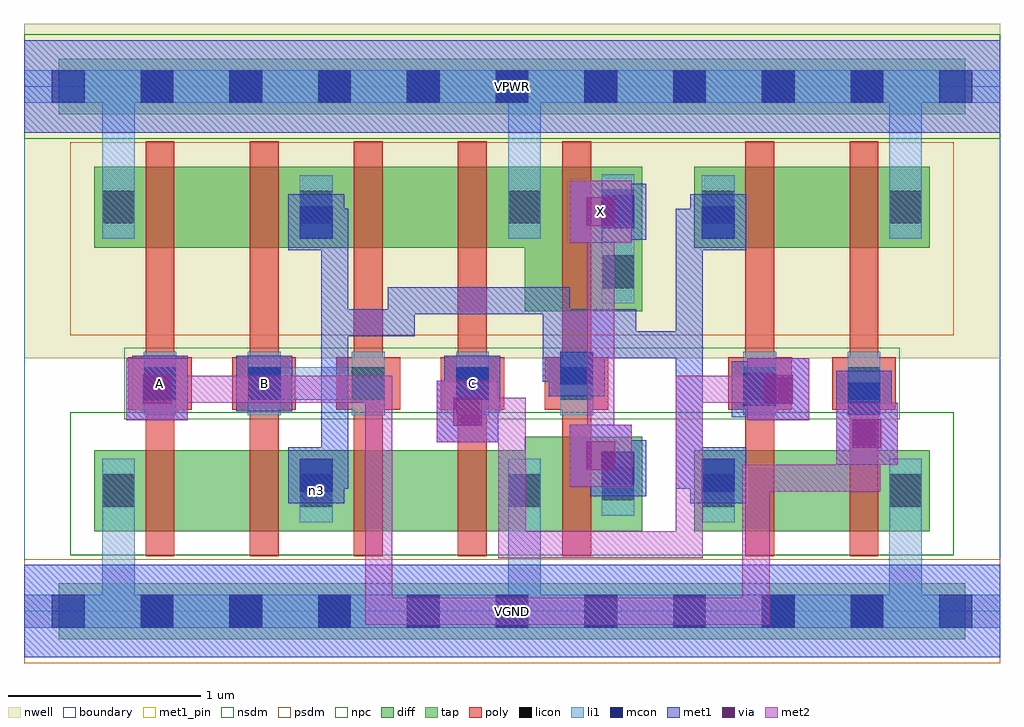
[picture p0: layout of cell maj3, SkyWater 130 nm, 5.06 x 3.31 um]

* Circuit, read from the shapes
.subckt maj3 A B C VGND VPWR X n3
XM1 n1 A VGND VGND sky130_fd_pr__nfet_01v8 w=0.42 l=0.15
XM2 n3 B n1 VGND sky130_fd_pr__nfet_01v8 w=0.42 l=0.15
XM3 n2 B n3 VGND sky130_fd_pr__nfet_01v8 w=0.42 l=0.15
XM4 VGND C n2 VGND sky130_fd_pr__nfet_01v8 w=0.42 l=0.15
XM5 X n3 VGND VGND sky130_fd_pr__nfet_01v8 w=0.49 l=0.15
XM6 n4 C n3 VGND sky130_fd_pr__nfet_01v8 w=0.42 l=0.15
XM7 VGND A n4 VGND sky130_fd_pr__nfet_01v8 w=0.42 l=0.15
XM8 n5 A VPWR VPWR sky130_fd_pr__pfet_01v8 w=0.42 l=0.15
XM9 n3 B n5 VPWR sky130_fd_pr__pfet_01v8 w=0.42 l=0.15
XM10 n6 B n3 VPWR sky130_fd_pr__pfet_01v8 w=0.42 l=0.15
XM11 VPWR C n6 VPWR sky130_fd_pr__pfet_01v8 w=0.42 l=0.15
XM12 X n3 VPWR VPWR sky130_fd_pr__pfet_01v8 w=0.75 l=0.15
XM13 n7 C n3 VPWR sky130_fd_pr__pfet_01v8 w=0.42 l=0.15
XM14 VPWR A n7 VPWR sky130_fd_pr__pfet_01v8 w=0.42 l=0.15
.ends

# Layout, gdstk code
import gdstk
lib = gdstk.Library(unit=1e-6, precision=1e-09)
def R(c, l, rs):  # rectangles x0, y0, x1, y1
    for r in rs: c.add(gdstk.rectangle(r[:2], r[2:], *l))
def A(c, l, x, y, w, h, nx, ny, dx, dy):  # array of equal rectangles
    R(c, l, [(x+i*dx, y+j*dy, x+i*dx+w, y+j*dy+h) for i in range(nx) for j in range(ny)])
nwell = (64, 20)
diff = (65, 20)
tap = (65, 44)
poly = (66, 20)
licon = (66, 44)
li1 = (67, 20)
mcon = (67, 44)
met1_pin = (68, 16)
met1 = (68, 20)
via = (68, 44)
met2 = (69, 20)
nsdm = (93, 44)
psdm = (94, 20)
npc = (95, 20)
boundary = (235, 4)

maj3 = lib.new_cell('maj3')
R(maj3, nwell, [(0,1.31,5.06,3.045)])
R(maj3, diff, [(0.365,0.415,2.595,0.835), (2.595,0.415,3.205,0.905), (3.475,0.415,4.695,0.835), (2.595,1.555,3.205,2.305), (0.365,1.885,2.595,2.305), (3.475,1.885,4.695,2.305)])
R(maj3, tap, [(0.18,-0.145,4.88,0.145), (0.18,2.575,4.88,2.865)])
A(maj3, poly, 0.63, 0.285, 0.15, 2.15, 5, 1, 0.54, 0)
A(maj3, poly, 0.54, 1.045, 0.33, 0.27, 5, 1, 0.54, 0)
R(maj3, poly, [(3.74,0.285,3.89,2.435), (4.28,0.285,4.43,2.435), (3.65,1.045,3.98,1.315), (4.19,1.045,4.52,1.315)])
A(maj3, licon, 0.605, -0.085, 0.17, 0.17, 9, 2, 0.46, 2.72)
A(maj3, licon, 0.62, 1.095, 0.17, 0.17, 5, 1, 0.54, 0)
R(maj3, licon, [(0.405,0.54,0.575,0.71), (1.43,0.54,1.6,0.71), (2.51,0.54,2.68,0.71), (3.515,0.54,3.685,0.71), (4.485,0.54,4.655,0.71), (2.995,0.575,3.165,0.745), (3.73,1.095,3.9,1.265), (4.27,1.095,4.44,1.265), (2.995,1.675,3.165,1.845), (0.405,2.01,0.575,2.18), (1.43,2.01,1.6,2.18), (2.51,2.01,2.68,2.18), (3.515,2.01,3.685,2.18), (4.485,2.01,4.655,2.18), (2.995,2.015,3.165,2.185)])
A(maj3, li1, 0.62, 1.015, 0.17, 0.33, 5, 1, 0.54, 0)
R(maj3, li1, [(0,-0.085,5.06,0.085), (0.405,-0.085,0.575,0.79), (2.51,-0.085,2.68,0.79), (4.485,-0.085,4.655,0.79), (0.405,0.46,0.575,0.79), (1.43,0.46,1.6,0.79), (2.51,0.46,2.68,0.79), (3.515,0.46,3.685,0.79), (4.485,0.46,4.655,0.79), (2.995,0.495,3.165,0.825), (3.73,1.015,3.9,1.345), (4.27,1.015,4.44,1.345), (1.16,1.095,1.87,1.265), (2.995,1.595,3.165,2.265), (0.405,1.93,0.575,2.26), (0.405,1.93,0.575,2.805), (1.43,1.93,1.6,2.26), (2.51,1.93,2.68,2.26), (2.51,1.93,2.68,2.805), (3.515,1.93,3.685,2.26), (4.485,1.93,4.655,2.26), (4.485,1.93,4.655,2.805), (0,2.635,5.06,2.805)])
A(maj3, mcon, 0.145, -0.085, 0.17, 0.17, 11, 2, 0.46, 2.72)
R(maj3, mcon, [(1.43,0.62,1.6,0.79), (3.515,0.62,3.685,0.79), (2.995,0.655,3.165,0.825), (4.27,1.015,4.44,1.185), (3.73,1.065,3.9,1.235), (0.62,1.095,0.79,1.265), (1.16,1.095,1.33,1.265), (2.24,1.095,2.41,1.265), (2.78,1.175,2.95,1.345), (1.43,1.93,1.6,2.1), (3.515,1.93,3.685,2.1), (2.995,1.985,3.165,2.155)])
R(maj3, met1_pin, [(0,-0.24,5.06,0.24), (0.56,1.035,0.85,1.325), (1.1,1.035,1.39,1.325), (2.18,1.035,2.47,1.325), (2.83,1.91,3.15,2.23), (0,2.48,5.06,2.96)])
R(maj3, met1, [(0,-0.24,5.06,0.24), (1.37,0.56,1.66,0.85), (3.455,0.56,3.745,0.85), (2.935,0.595,3.225,0.885), (1.445,0.635,1.68,0.775), (1.54,0.635,1.68,0.875), (3.38,0.635,3.52,0.875), (3.38,0.635,3.67,0.775), (2.83,0.645,3.15,0.965), (2.92,0.67,3.15,0.81), (2.92,0.67,3.06,0.875), (1.54,0.735,1.68,1.91), (3.38,0.735,3.52,1.45), (4.21,0.76,4.53,1.08), (4.3,0.85,4.44,1.17), (2.14,0.875,2.46,1.195), (4.21,0.955,4.5,1.245), (2.23,0.965,2.37,1.22), (0.53,0.99,0.85,1.31), (3.75,0.99,4.07,1.31), (3.67,1.005,3.96,1.295), (4.285,1.03,4.44,1.17), (0.56,1.035,0.85,1.325), (1.1,1.035,1.39,1.325), (2.18,1.035,2.47,1.325), (0.62,1.08,0.76,1.22), (2.23,1.08,2.37,1.22), (3.745,1.08,3.98,1.22), (2.72,1.115,3.01,1.405), (2.69,1.19,2.935,1.33), (2.69,1.19,2.83,1.45), (2.69,1.31,2.83,1.68), (2.935,1.31,3.035,1.33), (3.01,1.31,3.035,1.405), (3.035,1.31,3.52,1.45), (3.035,1.31,3.175,1.565), (3.38,1.31,3.52,1.91), (2.69,1.33,2.935,1.425), (2.935,1.33,3.035,1.425), (2.72,1.405,3.01,1.425), (3.01,1.405,3.035,1.425), (1.54,1.425,2.025,1.565), (1.885,1.425,2.025,1.68), (2.69,1.425,3.175,1.565), (1.885,1.54,2.83,1.68), (1.54,1.77,1.68,2.085), (3.38,1.77,3.52,2.085), (1.37,1.87,1.66,2.16), (3.455,1.87,3.745,2.16), (2.83,1.91,3.15,2.23), (2.935,1.925,3.225,2.215), (1.445,1.945,1.68,2.085), (3.38,1.945,3.67,2.085), (2.92,2,3.15,2.14), (0,2.48,5.06,2.96)])
R(maj3, via, [(2.915,0.73,3.065,0.88), (4.295,0.845,4.445,0.995), (2.225,0.96,2.375,1.11), (0.615,1.075,0.765,1.225), (3.835,1.075,3.985,1.225), (2.915,1.995,3.065,2.145)])
R(maj3, met2, [(1.77,-0.07,1.91,1.22), (1.77,-0.07,3.865,0.07), (3.725,-0.07,3.865,0.76), (2.46,0.275,2.6,1.105), (2.46,0.275,3.52,0.415), (3.38,0.275,3.52,1.22), (3.725,0.62,4.44,0.76), (4.3,0.62,4.44,0.99), (2.83,0.645,3.15,0.965), (2.92,0.735,3.06,2.14), (4.21,0.76,4.53,1.08), (2.14,0.875,2.46,1.195), (2.23,0.965,2.6,1.105), (0.53,0.99,0.85,1.31), (3.75,0.99,4.07,1.31), (0.62,1.08,1.91,1.22), (3.38,1.08,3.98,1.22), (2.83,1.91,3.15,2.23)])
R(maj3, nsdm, [(0.24,0.29,4.82,1.03), (0,2.45,5.06,2.99)])
R(maj3, psdm, [(0,-0.27,5.06,0.27), (0.24,1.43,4.82,2.43)])
R(maj3, npc, [(0.52,0.995,4.54,1.365)])
R(maj3, boundary, [(0,0,5.06,2.72)])
maj3.add(gdstk.Label('n3', (1.515,0.625), layer=67, texttype=5))
maj3.add(gdstk.Label('A', (0.705,1.18), layer=68, texttype=5))
maj3.add(gdstk.Label('B', (1.245,1.18), layer=68, texttype=5))
maj3.add(gdstk.Label('C', (2.325,1.18), layer=68, texttype=5))
maj3.add(gdstk.Label('X', (2.99,2.07), layer=68, texttype=5))
maj3.add(gdstk.Label('VPWR', (2.53,2.72), layer=68, texttype=5))
maj3.add(gdstk.Label('VGND', (2.53,0), layer=68, texttype=5))
maj3.add(gdstk.Label('A', (0.705,1.18), layer=68, texttype=16))
maj3.add(gdstk.Label('B', (1.245,1.18), layer=68, texttype=16))
maj3.add(gdstk.Label('C', (2.325,1.18), layer=68, texttype=16))
maj3.add(gdstk.Label('X', (2.99,2.07), layer=68, texttype=16))
maj3.add(gdstk.Label('VPWR', (2.53,2.72), layer=68, texttype=16))
maj3.add(gdstk.Label('VGND', (2.53,0), layer=68, texttype=16))

lib.write_gds('maj3.gds')
